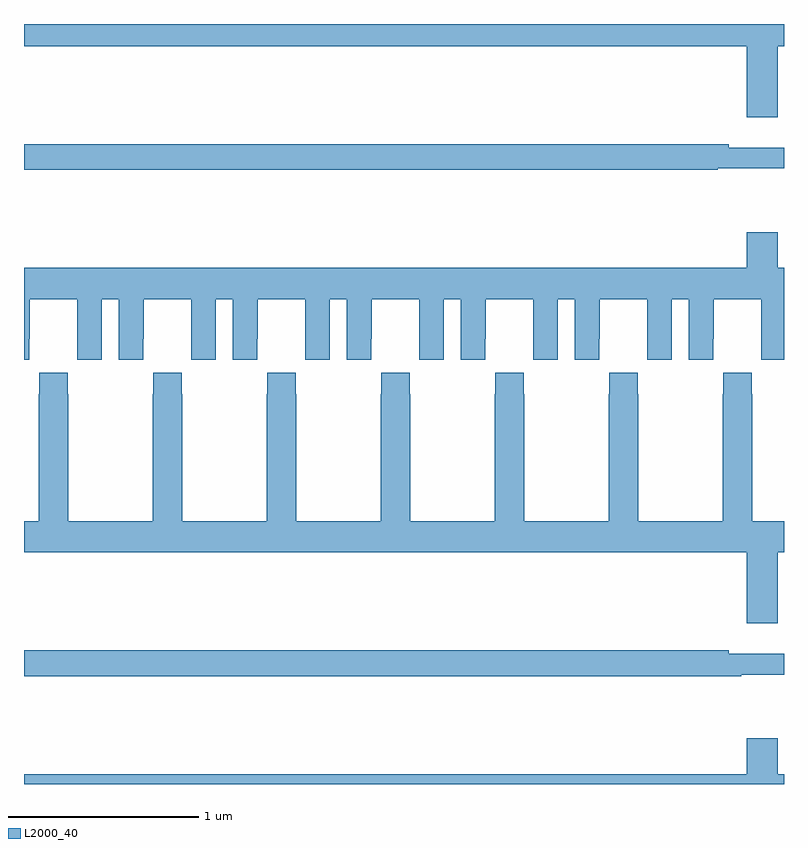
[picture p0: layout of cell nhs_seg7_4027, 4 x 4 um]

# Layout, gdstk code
import gdstk
lib = gdstk.Library(unit=1e-6, precision=1e-09)
def P(c, l, *ps):  # polygons
    for p in ps: c.add(gdstk.Polygon(p, *l))
L2000_40 = (2000, 40)

nhs_seg7_4027 = lib.new_cell('nhs_seg7_4027')
P(nhs_seg7_4027, L2000_40, [(368.968,1065.884),(369,1065.884),(369,1066),(365,1066),(365,1065.884),(368.804,1065.884),(368.804,1065.51),(368.968,1065.51)],
  [(368.65,1065.24),(369,1065.24),(369,1065.349),(368.708,1065.349),(368.708,1065.368),(365,1065.368),(365,1065.232),(368.65,1065.232)],
  [(365.028,1064.344),(365.029,1064.344),(365.029,1064.552),(365.279,1064.552),(365.279,1064.344),(365.28,1064.344),(365.28,1064.232),(365.41,1064.232),(365.41,1064.552),(365.498,1064.552),(365.498,1064.232),(365.628,1064.232),(365.628,1064.344),(365.629,1064.344),(365.629,1064.552),(365.879,1064.552),(365.879,1064.344),(365.88,1064.344),(365.88,1064.232),(366.01,1064.232),(366.01,1064.552),(366.098,1064.552),(366.098,1064.232),(366.228,1064.232),(366.228,1064.344),(366.229,1064.344),(366.229,1064.552),(366.479,1064.552),(366.479,1064.344),(366.48,1064.344),(366.48,1064.232),(366.61,1064.232),(366.61,1064.552),(366.698,1064.552),(366.698,1064.232),(366.828,1064.232),(366.828,1064.344),(366.829,1064.344),(366.829,1064.552),(367.079,1064.552),(367.079,1064.344),(367.08,1064.344),(367.08,1064.232),(367.21,1064.232),(367.21,1064.552),(367.298,1064.552),(367.298,1064.232),(367.428,1064.232),(367.428,1064.344),(367.429,1064.344),(367.429,1064.552),(367.679,1064.552),(367.679,1064.344),(367.68,1064.344),(367.68,1064.232),(367.81,1064.232),(367.81,1064.552),(367.898,1064.552),(367.898,1064.232),(368.028,1064.232),(368.028,1064.344),(368.029,1064.344),(368.029,1064.552),(368.279,1064.552),(368.279,1064.344),(368.28,1064.344),(368.28,1064.232),(368.41,1064.232),(368.41,1064.552),(368.498,1064.552),(368.498,1064.232),(368.628,1064.232),(368.628,1064.344),(368.629,1064.344),(368.629,1064.552),(368.879,1064.552),(368.879,1064.344),(368.88,1064.344),(368.88,1064.232),(369,1064.232),(369,1064.716),(368.968,1064.716),(368.968,1064.905),(368.804,1064.905),(368.804,1064.716),(365,1064.716),(365,1064.232),(365.028,1064.232)],
  [(368.229,1064.051),(368.229,1064.164),(368.079,1064.164),(368.079,1064.051),(368.077,1064.051),(368.077,1063.384),(367.632,1063.384),(367.632,1064.051),(367.629,1064.051),(367.629,1064.164),(367.479,1064.164),(367.479,1064.051),(367.477,1064.051),(367.477,1063.384),(367.032,1063.384),(367.032,1064.051),(367.029,1064.051),(367.029,1064.164),(366.879,1064.164),(366.879,1064.051),(366.877,1064.051),(366.877,1063.384),(366.432,1063.384),(366.432,1064.051),(366.429,1064.051),(366.429,1064.164),(366.279,1064.164),(366.279,1064.051),(366.277,1064.051),(366.277,1063.384),(365.832,1063.384),(365.832,1064.051),(365.829,1064.051),(365.829,1064.164),(365.679,1064.164),(365.679,1064.051),(365.677,1064.051),(365.677,1063.384),(365.232,1063.384),(365.232,1064.051),(365.229,1064.051),(365.229,1064.164),(365.079,1064.164),(365.079,1064.051),(365.077,1064.051),(365.077,1063.384),(365,1063.384),(365,1063.22),(368.804,1063.22),(368.804,1062.846),(368.968,1062.846),(368.968,1063.22),(369,1063.22),(369,1063.384),(368.832,1063.384),(368.832,1064.051),(368.829,1064.051),(368.829,1064.164),(368.679,1064.164),(368.679,1064.051),(368.677,1064.051),(368.677,1063.384),(368.232,1063.384),(368.232,1064.051)],
  [(368.776,1062.576),(369,1062.576),(369,1062.685),(368.708,1062.685),(368.708,1062.704),(365,1062.704),(365,1062.568),(368.776,1062.568)],
  [(369,1062.052),(368.968,1062.052),(368.968,1062.241),(368.804,1062.241),(368.804,1062.052),(365,1062.052),(365,1062),(369,1062)])

lib.write_gds('nhs_seg7_4027.gds')
